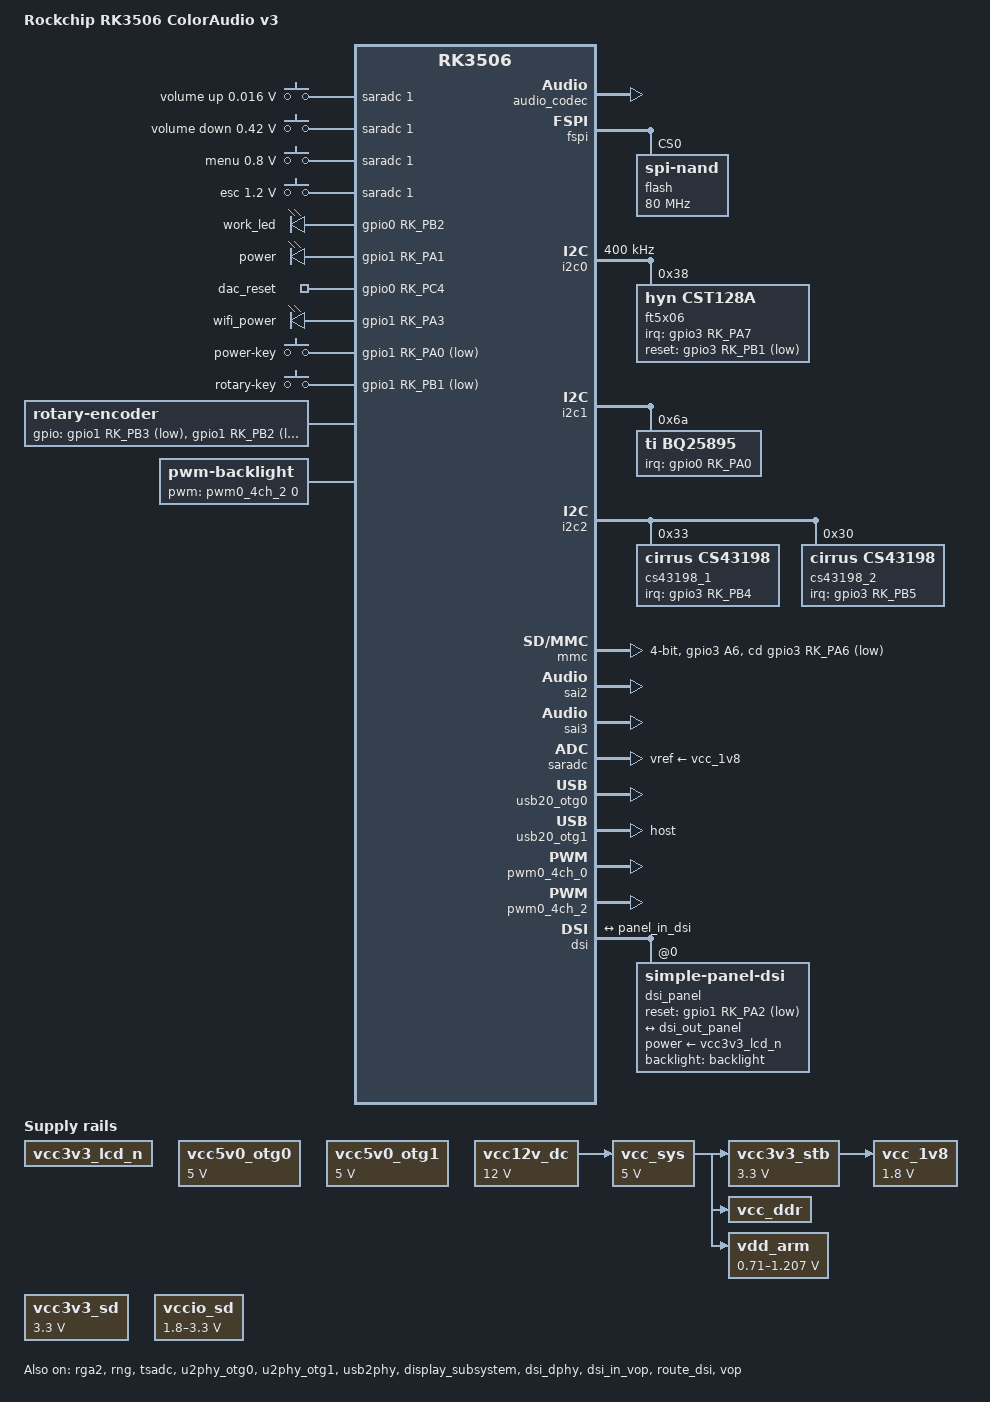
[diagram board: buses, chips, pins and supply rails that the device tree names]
// SPDX-License-Identifier: (GPL-2.0+ OR MIT)
/*
 * Copyright (c) 2024 Rockchip Electronics Co., Ltd.
 */
/dts-v1/;
#include <dt-bindings/display/drm_mipi_dsi.h>
#include <dt-bindings/input/rk-input.h>
#include <dt-bindings/suspend/rockchip-rk3506.h>
#include <dt-bindings/display/media-bus-format.h>
#include "rk3506.dtsi"

/ {	
	model = "Rockchip RK3506 ColorAudio v3";
	compatible = "rockchip,coloraudio-v3", "rockchip,rk3506";

	chosen {
		bootargs = "earlycon=uart8250,mmio32,0xff0a0000 loglevel=8 console=ttyFIQ0 ubi.mtd=7 root=ubi0:rootfs rw rootfstype=ubifs rootwait snd_aloop.index=7 snd_aloop.use_raw_jiffies=1";
	};
	
	vcc3v3_lcd_n: vcc3v3-lcd0-n {
		compatible = "regulator-fixed";
		enable-active-high;
		regulator-name = "vcc3v3_lcd_n";
		regulator-boot-on;
		regulator-state-mem {
			regulator-off-in-suspend;
		};
    };
	
	vcc5v0_otg0: vcc5v0-otg0-regulator {
		compatible = "regulator-fixed";
		regulator-name = "vcc5v0_otg0";
		regulator-min-microvolt = <5000000>;
		regulator-max-microvolt = <5000000>;
		enable-active-high;
    };
	
	vcc5v0_otg1: vcc5v0-otg1-regulator {
		compatible = "regulator-fixed";
		regulator-name = "vcc5v0_otg1";
		regulator-boot-on;
		regulator-always-on;
		regulator-min-microvolt = <5000000>;
		regulator-max-microvolt = <5000000>;
		enable-active-high;
    };

	vcc12v_dc: vcc12v-dc {
		compatible = "regulator-fixed";
		regulator-name = "vcc12v_dc";
		regulator-always-on;
		regulator-boot-on;
		regulator-min-microvolt = <12000000>;
		regulator-max-microvolt = <12000000>;
	};

	vcc_sys: vcc-sys {
		compatible = "regulator-fixed";
		regulator-name = "vcc_sys";
		regulator-always-on;
		regulator-boot-on;
		regulator-min-microvolt = <5000000>;
		regulator-max-microvolt = <5000000>;
		vin-supply = <&vcc12v_dc>;
	};

	vcc3v3_stb: vcc3v3-stb {
		compatible = "regulator-fixed";
		regulator-name = "vcc3v3_stb";
		regulator-always-on;
		regulator-boot-on;
		regulator-min-microvolt = <3300000>;
		regulator-max-microvolt = <3300000>;
		vin-supply = <&vcc_sys>;
	};
	
	vcc3v3_sd: vcc3v3-sd {
		compatible = "regulator-fixed";
		regulator-name = "vcc3v3_sd";
		regulator-min-microvolt = <3300000>;
		regulator-max-microvolt = <3300000>;
	};
		
	vccio_sd: vccio-sd {
		compatible = "regulator-gpio";
		regulator-name = "vccio_sd";
		regulator-min-microvolt = <1800000>;
		regulator-max-microvolt = <3300000>;
		states = <3300000 1
				  1800000 0>;
	};

	vcc_1v8: vcc-1v8 {
		compatible = "regulator-fixed";
		regulator-name = "vcc_1v8";
		regulator-always-on;
		regulator-boot-on;
		regulator-min-microvolt = <1800000>;
		regulator-max-microvolt = <1800000>;
		vin-supply = <&vcc3v3_stb>;
	};

	vcc_ddr: vcc-ddr {
		compatible = "regulator-fixed";
		regulator-name = "vcc_ddr";
		regulator-always-on;
		regulator-boot-on;
		vin-supply = <&vcc_sys>;
	};

	vdd_arm: vdd-arm {
		compatible = "pwm-regulator";
		pwms = <&pwm0_4ch_0 0 5000 1>;
		regulator-name = "vdd_arm";
		regulator-min-microvolt = <710000>;
		regulator-max-microvolt = <1207000>;
		regulator-init-microvolt = <1011000>;
		regulator-always-on;
		regulator-boot-on;
		regulator-settling-time-up-us = <250>;
		pwm-supply = <&vcc_sys>;
	};

	dac_sound_1: dac-sound-1 {
		status = "okay";
		compatible = "simple-audio-card";
		simple-audio-card,name = "cirrus,cs43198-1";
		simple-audio-card,format = "i2s";
		simple-audio-card,mclk-fs = <256>;
		simple-audio-card,cpu {
			sound-dai = <&sai3>;
		};
		simple-audio-card,codec {
		    sound-dai = <&cs43198_1>;
		};
	};

	dac_sound_2: dac-sound-2 {
		status = "okay";
		compatible = "simple-audio-card";
		simple-audio-card,name = "cirrus,cs43198-2";
		simple-audio-card,format = "i2s";
		simple-audio-card,mclk-fs = <256>;
		simple-audio-card,cpu {
			sound-dai = <&sai2>;
		};
		simple-audio-card,codec {
		    sound-dai = <&cs43198_2>;
		};
	};

	adc_keys: adc-keys {
		compatible = "adc-keys";
		io-channels = <&saradc 1>;
		io-channel-names = "buttons";
		keyup-threshold-microvolt = <1800000>;
		poll-interval = <100>;

		vol-up-key {
			label = "volume up";
			linux,code = <KEY_VOLUMEUP>;
			press-threshold-microvolt = <16000>;
		};

		vol-down-key {
			label = "volume down";
			linux,code = <KEY_VOLUMEDOWN>;
			press-threshold-microvolt = <420000>;
		};

		menu-key {
			label = "menu";
			linux,code = <KEY_MENU>;
			press-threshold-microvolt = <800000>;
		};

		esc-key {
			label = "esc";
			linux,code = <KEY_ESC>;
			press-threshold-microvolt = <1200000>;
		};
	};

	fiq_debugger: fiq-debugger {
		compatible = "rockchip,fiq-debugger";
		rockchip,serial-id = <0>;
		rockchip,wake-irq = <0>;
		rockchip,irq-mode-enable = <1>;
		rockchip,baudrate = <1500000>;	/* Only 115200 and 1500000 */
		interrupts = <GIC_SPI 115 IRQ_TYPE_LEVEL_HIGH>;
	};
	
	leds: leds {
		status = "okay";
		compatible = "gpio-leds";

		work_led: work-led {
			gpios = <&gpio0 RK_PB2 GPIO_ACTIVE_HIGH>;
			linux,default-trigger = "heartbeat";
			pinctrl-names = "default";
			pinctrl-0 = <&leds_gpio>;
		};
		power: power {
			gpios = <&gpio1 RK_PA1 GPIO_ACTIVE_HIGH>;
			linux,default-trigger = "default-off";
			pinctrl-names = "default";
			pinctrl-0 = <&power_gpio>;
			default-state = "on";
		};
		dac_reset: dac-reset {
			gpios = <&gpio0 RK_PC4 GPIO_ACTIVE_HIGH>;
			linux,default-trigger = "default-off";
			pinctrl-names = "default";
			pinctrl-0 = <&dac_reset_gpio>;
			default-state = "on";
		};
		wifi_power: wifi-power {
			gpios = <&gpio1 RK_PA3 GPIO_ACTIVE_HIGH>;
			linux,default-trigger = "default-off";
			pinctrl-names = "default";
			pinctrl-0 = <&wifi_power_gpio>;
			default-state = "off";
		};
    };
		
	gpio_keys: gpio-keys {
		status = "okay";
		compatible = "gpio-keys";

		power_key: power-key {
			label = "power-key";
			pinctrl-names = "default";
			pinctrl-0 = <&power_key_gpio>;
			gpios = <&gpio1 RK_PA0 GPIO_ACTIVE_LOW>;
			linux,code = <0x01>;
			wakeup-source;
		};
		rotary_key: rotary-key {
			label = "rotary-key";
			pinctrl-names = "default";
			pinctrl-0 = <&rotary_key_gpio>;
			gpios = <&gpio1 RK_PB1 GPIO_ACTIVE_LOW>;
			linux,code = <0x02>;
			wakeup-source;
		};
	};

	rotary: rotary {
		compatible = "rotary-encoder";
		gpios = <&gpio1 RK_PB3 GPIO_ACTIVE_LOW>, <&gpio1 RK_PB2 GPIO_ACTIVE_LOW>;
		linux,axis = <0>;
		rotary-encoder,relative-axis;
		pinctrl-names = "default";
		pinctrl-0 = <&rotary_left_right>;
	};

	sdio_pwrseq: sdio-pwrseq {
		compatible = "mmc-pwrseq-simple";
		pinctrl-names = "default";
	};

	backlight: backlight {
		status = "okay";
		compatible = "pwm-backlight";
		pwms = <&pwm0_4ch_2 0 25000 0>;
		brightness-levels = <
			  0  20  20  21  21  22  22  23
			 23  24  24  25  25  26  26  27
			 27  28  28  29  29  30  30  31
			 31  32  32  33  33  34  34  35
			 35  36  36  37  37  38  38  39
			 40  41  42  43  44  45  46  47
			 48  49  50  51  52  53  54  55
			 56  57  58  59  60  61  62  63
			 64  65  66  67  68  69  70  71
			 72  73  74  75  76  77  78  79
			 80  81  82  83  84  85  86  87
			 88  89  90  91  92  93  94  95
			 96  97  98  99 100 101 102 103
			104 105 106 107 108 109 110 111
			112 113 114 115 116 117 118 119
			120 121 122 123 124 125 126 127
			128 129 130 131 132 133 134 135
			136 137 138 139 140 141 142 143
			144 145 146 147 148 149 150 151
			152 153 154 155 156 157 158 159
			160 161 162 163 164 165 166 167
			168 169 170 171 172 173 174 175
			176 177 178 179 180 181 182 183
			184 185 186 187 188 189 190 191
			192 193 194 195 196 197 198 199
			200 201 202 203 204 205 206 207
			208 209 210 211 212 213 214 215
			216 217 218 219 220 221 222 223
			224 225 226 227 228 229 230 231
			232 233 234 235 236 237 238 239
			240 241 242 243 244 245 246 247
			248 249 250 251 252 253 254 255
		>;
		default-brightness-level = <200>;
	};
};

&pinctrl {
	lcd {
		lcd_reset_gpio: lcd-reset-gpio {
			rockchip,pins = <1 RK_PA2 RK_FUNC_GPIO &pcfg_pull_up>;
		};
	};

	sdcard {
		sd_det: sd-det {
			rockchip,pins = <3 RK_PA6 RK_FUNC_GPIO &pcfg_pull_none>;
		};
    };

	wifi {
		wifi_power_gpio: wifi-power-gpio {
			rockchip,pins = <1 RK_PA3 RK_FUNC_GPIO &pcfg_pull_none>;
		};
    };

	led {
		leds_gpio: leds-gpio {
			rockchip,pins = <0 RK_PB2 RK_FUNC_GPIO &pcfg_pull_none>;
		};
		power_gpio: power-gpio {
			rockchip,pins = <1 RK_PA1 RK_FUNC_GPIO &pcfg_pull_none>;
		};
	};

	key {
		power_key_gpio: power-key-gpio {
			rockchip,pins = <1 RK_PA0 RK_FUNC_GPIO &pcfg_pull_none>;
		};
		rotary_key_gpio: rotary-key-gpio {
			rockchip,pins = <1 RK_PB1 RK_FUNC_GPIO &pcfg_pull_none>;
		};
	};

	rotary {
		rotary_left_right: rotary-left-right {
			rockchip,pins = <1 RK_PB3 RK_FUNC_GPIO &pcfg_pull_none>, <1 RK_PB2 RK_FUNC_GPIO &pcfg_pull_none>;
		};
	};
	
	charger {
		charger_gpio: charger-gpio {
			rockchip,pins = <0 RK_PA0 RK_FUNC_GPIO &pcfg_pull_none>;
		};
	};

	dac {
		dac_1_gpio: dac-1-gpio {
			rockchip,pins = <3 RK_PB4 RK_FUNC_GPIO &pcfg_pull_none>;
		};
		dac_2_gpio: dac-2-gpio {
			rockchip,pins = <3 RK_PB5 RK_FUNC_GPIO &pcfg_pull_none>;
		};
		dac_reset_gpio: dac-reset-gpio {
			rockchip,pins = <0 RK_PC4 RK_FUNC_GPIO &pcfg_pull_up>;
		};
	};

	touch {
		touch_gpio: touch-gpio {
			rockchip,pins = <3 RK_PA7 RK_FUNC_GPIO &pcfg_pull_none>;
		};
		
		touch_reset_gpio: touch-reset-gpio {
			rockchip,pins = <3 RK_PB1 RK_FUNC_GPIO &pcfg_pull_none>;
		};
	};
};

&audio_codec {
	status = "okay";
};

&cma {
	size = <0x1600000>;
};

&cpu0 {
	cpu-supply = <&vdd_arm>;
};

&flexbus_fspi {
	pinctrl-names = "default";
	pinctrl-0 = <&flexbus0m1_pins &flexbus0_clk_pins
		     &flexbus0_d0_pins &flexbus0_d1_pins
		     &flexbus0_d2_pins &flexbus0_d3_pins>;
	status = "disabled";

	flash@0 {
		compatible = "jedec,spi-nor";
		reg = <0>;
		spi-max-frequency = <100000000>;
		spi-rx-bus-width = <4>;
		spi-tx-bus-width = <1>;
	};
};

&fspi {
	status = "okay";

	flash@0 {
		compatible = "spi-nand";
		reg = <0>;
		spi-max-frequency = <80000000>;
		spi-rx-bus-width = <4>;
		spi-tx-bus-width = <1>;
	};
};

&i2c0 {
	status = "okay";
	pinctrl-names = "default";
	pinctrl-0 = <&rm_io6_i2c0_scl &rm_io5_i2c0_sda>;
	clock-frequency = <400000>;

	ft5x06@38 {
		compatible = "hyn,cst128a";
		reg = <0x38>;
		pinctrl-names = "default";
		pinctrl-0 = <&touch_gpio &touch_reset_gpio>;
		irq-gpios = <&gpio3 RK_PA7 IRQ_TYPE_LEVEL_LOW>;
		reset-gpios = <&gpio3 RK_PB1 GPIO_ACTIVE_LOW>;
		status = "okay";
	};
};

&i2c1 {
	status = "okay";
	pinctrl-names = "default";
	pinctrl-0 = <&rm_io1_i2c1_scl &rm_io2_i2c1_sda>;
	
	bq25895: charger@6a {
		compatible = "ti,bq25895", "ti,bq25890";
		reg = <0x6a>;
		pinctrl-names = "default";
		pinctrl-0 = <&charger_gpio>;
		interrupt-parent = <&gpio0>;
		interrupts = <RK_PA0 IRQ_TYPE_EDGE_FALLING>;
		ti,battery-regulation-voltage = <4200000>; /* 4.2V */
		ti,charge-current = <2000000>; /* 2A */
		ti,termination-current = <66000>;  /* 66mA */
		ti,precharge-current = <130000>; /* 130mA */
		ti,minimum-sys-voltage = <3000000>; /* 3V */
		ti,boost-voltage = <5000000>; /* 5V */
		ti,boost-max-current = <1600000>; /* 1600mA */
	};
};

&i2c2 {
	status = "okay";
	pinctrl-names = "default";
	pinctrl-0 = <&rm_io8_i2c2_scl &rm_io9_i2c2_sda>;

	cs43198_1: audio-codec@33 {
		status = "okay";
		#sound-dai-cells = <0>;
		compatible = "cirrus,cs43198";
		reg = <0x33>;
		clocks = <&mclkout_sai3>;
		clock-names = "mclk";
		pinctrl-names = "default";
		pinctrl-0 = <&dac_1_gpio>;
		interrupt-parent = <&gpio3>;
   		interrupts = <RK_PB4 IRQ_TYPE_EDGE_FALLING>;
	};

	cs43198_2: audio-codec@30 {
		status = "okay";
		#sound-dai-cells = <0>;
		compatible = "cirrus,cs43198";
		reg = <0x30>;
		clocks = <&mclkout_sai2>;
		clock-names = "mclk";
		pinctrl-names = "default";
		pinctrl-0 = <&dac_2_gpio>;
		interrupt-parent = <&gpio3>;
   		interrupts = <RK_PB5 IRQ_TYPE_EDGE_FALLING>;
	};
};

&mmc {
	max-frequency = <150000000>;
	supports-sd;
	no-sdio;
	no-mmc;
	bus-width = <4>;
	cap-mmc-highspeed;
	cap-sd-highspeed;
	cd-gpios = <&gpio3 RK_PA6 GPIO_ACTIVE_LOW>;
	disable-wp;
	pinctrl-names = "default";
	pinctrl-0 = <&sdmmc_clk_pins &sdmmc_cmd_pins &sdmmc_bus4_pins &sd_det>;
	status = "okay";
};

&rga2 {
	status = "okay";
};

&rng {
	status = "okay";
};

// &rockchip_suspend {
// 	rockchip,sleep-mode-config = <
// 		(0
// 		| RKPM_ARMOFF_DDRPD
// 		| RKPM_24M_OSC_DIS
// 		| RKPM_32K_CLK
// 		| RKPM_32K_SRC_RC
// 		| RKPM_PWM0_CH0_REGULATOR
// 		)
// 	>;

// 	rockchip,apios-suspend = <
// 		(0
// 		| RKPM_PWREN_CORE_GPIO0B3 | RKPM_PWREN_CORE_ACT_LOW
// 		| RKPM_PWREN_SLEEP_GPIO0A3 | RKPM_PWREN_SLEEP_ACT_LOW
// 		)
// 	>;
// };

&sai2 {
	status = "okay";
	pinctrl-names = "default";
	pinctrl-0 = <>;
};

&sai3 {
	status = "okay";
	pinctrl-names = "default";
	pinctrl-0 = <&sai3_lrck_pins &sai3_sclk_pins &sai3_sdo_pins>;
};

&saradc {
	vref-supply = <&vcc_1v8>;
	status = "okay";
};

&tsadc {
	status = "okay";
};

&u2phy_otg0 {
	vbus-supply = <&vcc5v0_otg0>;
	rockchip,vbus-always-on;
	status = "okay";
};

&u2phy_otg1 {
	phy-supply = <&vcc5v0_otg1>;
	status = "okay";
};

&usb2phy {
	status = "okay";
};

&usb20_otg0 {
	status = "okay";
};

&usb20_otg1 {
	dr_mode = "host";
	status = "okay";
};

&display_subsystem {
	logo-memory-region = <&drm_logo>;
	status = "okay";
};

&pwm0_4ch_0 {
	pinctrl-names = "active";
	pinctrl-0 = <&rm_io21_pwm0_ch0>;
	status = "okay";
};

&pwm0_4ch_2 {
	pinctrl-names = "active";
	pinctrl-0 = <&rm_io4_pwm0_ch2>;
	status = "okay";
};

&dsi {
	status = "okay";
	// rockchip,lane-rate = <850>;
	dsi_panel: panel@0 {
		status = "okay";
		compatible = "simple-panel-dsi";
		reset-gpios  = <&gpio1 RK_PA2 GPIO_ACTIVE_LOW>;
		pinctrl-names = "default";
		pinctrl-0 = <&lcd_reset_gpio>;
		reg = <0>;
		backlight = <&backlight>;

		reset-delay-ms = <30>;
		enable-delay-ms = <100>;
		prepare-delay-ms = <20>;
		unprepare-delay-ms = <20>;
		disable-delay-ms = <20>;
		init-delay-ms = <120>;

		width-mm = <68>;
		height-mm = <121>;

		dsi,flags = <(MIPI_DSI_MODE_VIDEO | MIPI_DSI_MODE_VIDEO_BURST |
			      MIPI_DSI_MODE_LPM | MIPI_DSI_MODE_NO_EOT_PACKET)>;
		dsi,format = <MIPI_DSI_FMT_RGB888>;
		dsi,lanes  = <2>;
		panel-init-sequence = [
			05 78 01 01
			05 78 01 11
			39 00 06 FF 77 01 00 00 11
			15 00 02 D1 11
			15 00 02 55 B0
			39 00 06 FF 77 01 00 00 10
			39 00 03 C0 63 00
			39 00 03 C1 09 02
			39 00 03 C2 37 08
			15 00 02 C7 00 
			15 00 02 CC 38
			39 00 11 B0 00 11 19 0C 10 06 07 0A 09 22 04 10 0E 28 30 1C
			39 00 11 B1 00 12 19 0D 10 04 06 07 08 23 04 12 11 28 30 1C
			39 00 06 FF 77 01 00 00 11
			15 00 02 B0 4D
			15 00 02 B1 60 
			15 00 02 B2 07
			15 00 02 B3 80
			15 00 02 B5 47
			15 00 02 B7 8A
			15 00 02 B8 21
			15 00 02 C1 78
			15 00 02 C2 78
			15 64 02 D0 88
			39 00 04 E0 00 00 02
			39 00 0C E1 01 A0 03 A0 02 A0 04 A0 00 44 44
			39 00 0D E2 00 00 00 00 00 00 00 00 00 00 00 00
			39 00 05 E3 00 00 33 33
			39 00 03 E4 44 44
			39 00 11 E5 01 26 A0 A0 03 28 A0 A0 05 2A A0 A0 07 2C A0 A0
			39 00 05 E6 00 00 33 33
			39 00 03 E7 44 44
			39 00 11 E8 02 26 A0 A0 04 28 A0 A0 06 2A A0 A0 08 2C A0 A0
			39 00 08 EB 00 01 E4 E4 44 00 40
			39 00 11 ED FF F7 65 4F 0B A1 CF FF FF FC 1A B0 F4 56 7F FF
			39 00 06 FF 77 01 00 00 00
			15 00 02 36 00
			15 00 02 3A 77
			05 78 01 11
			05 14 01 29
		];

		// 15 00 02 3A 55 16bit

		panel-exit-sequence = [
			05 00 01 28
			05 00 01 10
		];

		disp_timings0: display-timings {
			native-mode = <&dsi_timing0>;
			dsi_timing0: timing0 {
				clock-frequency = <27000000>;
				hactive = <480>;       //与 LCDTiming.LCDH 对应
				vactive = <800>;       //与 LCDTiming.LCDV 对应
				hfront-porch = <32>;   //与 LCDTiming.HFPD 对应
				hsync-len = <4>;       //与 LCDTiming.HSPW 对应
				hback-porch = <32>;    //与 LCDTiming.HBPD 对应
				vfront-porch = <9>;    //与 LCDTiming.VEPD 对应
				vsync-len = <4>;       //与 LCDTiming.VsPW 对应
				vback-porch = <3>;     //与 LCDTiming.VBPD 对应
				hsync-active = <0>;
				vsync-active = <0>;
				de-active = <0>;
				pixelclk-active = <0>;
			};
		};

		ports {
			#address-cells = <1>;
			#size-cells = <0>;

			port@0 {
				reg = <0>;
				panel_in_dsi: endpoint {
					remote-endpoint = <&dsi_out_panel>;
				};
			};
		};
	};

	ports {
		#address-cells = <1>;
		#size-cells = <0>;

		port@1 {
			reg = <1>;
			dsi_out_panel: endpoint {
				remote-endpoint = <&panel_in_dsi>;
			};
		};
	};
};

&dsi_panel {
	power-supply = <&vcc3v3_lcd_n>;
};

&dsi_dphy {
    status = "okay";
};

&dsi_in {
	status = "okay";
};

&dsi_in_vop {
	status = "okay";
};

&route_dsi{
	status = "okay";
	connect = <&vop_out_dsi>;
};

&vop {
	status = "okay";
};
